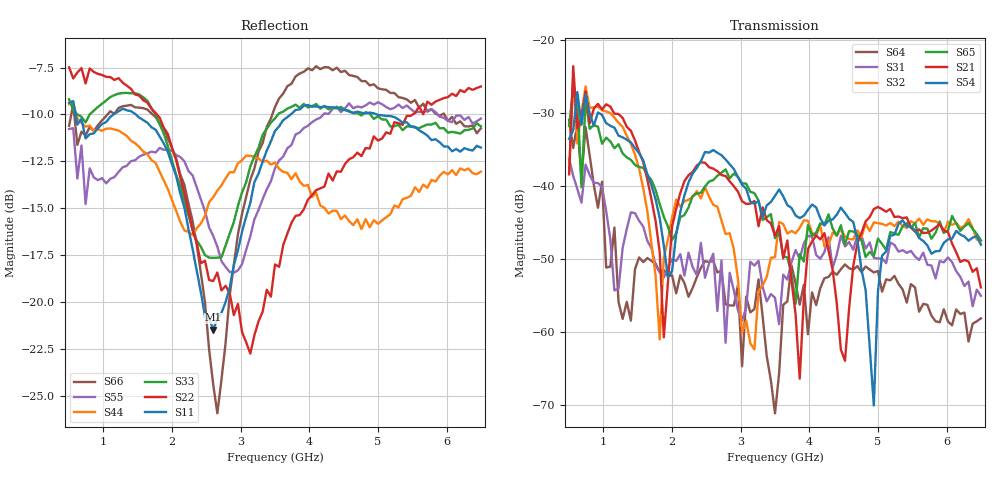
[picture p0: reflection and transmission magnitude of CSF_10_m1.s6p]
!Keysight Technologies,M9804A,MY58100912,A.14.10.03
!Date: Thursday, April 27, 2023 10:28:33
!Correction: S11(C  6-Port  )
!S12(C  6-Port  )
!S13(C  6-Port  )
!S14(C  6-Port  )
!S15(C  6-Port  )
!S16(C  6-Port  )
!S21(C  6-Port  )
!S22(C  6-Port  )
!S23(C  6-Port  )
!S24(C  6-Port  )
!S25(C  6-Port  )
!S26(C  6-Port  )
!S31(C  6-Port  )
!S32(C  6-Port  )
!S33(C  6-Port  )
!S34(C  6-Port  )
!S35(C  6-Port  )
!S36(C  6-Port  )
!S41(C  6-Port  )
!S42(C  6-Port  )
!S43(C  6-Port  )
!S44(C  6-Port  )
!S45(C  6-Port  )
!S46(C  6-Port  )
!S51(C  6-Port  )
!S52(C  6-Port  )
!S53(C  6-Port  )
!S54(C  6-Port  )
!S55(C  6-Port  )
!S56(C  6-Port  )
!S61(C  6-Port  )
!S62(C  6-Port  )
!S63(C  6-Port  )
!S64(C  6-Port  )
!S65(C  6-Port  )
!S66(C  6-Port  )
!S6P File: Measurement: :
# Hz S  RI  R 50
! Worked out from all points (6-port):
!   101 points, 500 MHz to 6.5 GHz, reference 50 ohm
!   strongest paths, dB at 500 MHz, 2 GHz, 3.5 GHz, 5 GHz, 6.5 GHz:
!     S54: -33.5, -51.7, -41.3, -54.5, -48.0
!     S21: -38.4, -45.6, -46.8, -42.9, -53.9
!     S65: -31.8, -47.4, -47.1, -47.2, -47.4
!     S32: -38.2, -44.3, -49.7, -45.1, -47.5
!     S31: -36.2, -50.0, -55.3, -49.9, -55.0
!     S64: -30.9, -52.2, -71.2, -51.6, -58.1
!   lowest |S11| = -21.5 dB at 2.6 GHz (marker M1), VSWR 1.18, Z = 42.6 + j2.38 ohm
!   |S11| at or under -10 dB: 594.1 MHz to 1.149 GHz (554.6 MHz wide, 63.6 % of centre); 1.471 GHz to 3.728 GHz (2.257 GHz wide, 86.8 % of centre); 4.983 GHz to end of sweep
